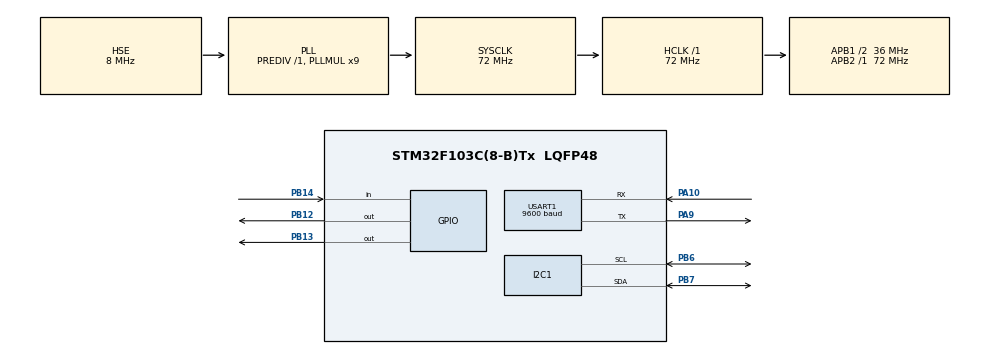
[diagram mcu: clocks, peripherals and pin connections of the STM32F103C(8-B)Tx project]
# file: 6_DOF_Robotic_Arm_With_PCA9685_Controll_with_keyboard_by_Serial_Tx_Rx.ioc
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Mcu.Family=STM32F1
Mcu.Name=STM32F103C(8-B)Tx
Mcu.Package=LQFP48
NVIC.PriorityGroup=NVIC_PRIORITYGROUP_4
NVIC.USART1_IRQn=true\:0\:0\:false\:false\:true\:true\:true\:true
PA10.Mode=Asynchronous
PA10.Signal=USART1_RX
PA9.Mode=Asynchronous
PA9.Signal=USART1_TX
PB12.Signal=GPIO_Output
PB13.Signal=GPIO_Output
PB14.GPIO_PuPd=GPIO_PULLDOWN
PB14.Signal=GPIO_Input
PB6.Mode=I2C
PB6.Signal=I2C1_SCL
PB7.Mode=I2C
PB7.Signal=I2C1_SDA
PD0-OSC_IN.Mode=HSE-External-Oscillator
PD0-OSC_IN.Signal=RCC_OSC_IN
PD1-OSC_OUT.Mode=HSE-External-Oscillator
PD1-OSC_OUT.Signal=RCC_OSC_OUT
ProjectManager.HeapSize=0x200
ProjectManager.StackSize=0x400
ProjectManager.TargetToolchain=STM32CubeIDE
RCC.AHBFreq_Value=72000000
RCC.APB1CLKDivider=RCC_HCLK_DIV2
RCC.APB1Freq_Value=36000000
RCC.APB1TimFreq_Value=72000000
RCC.APB2Freq_Value=72000000
RCC.APB2TimFreq_Value=72000000
RCC.HCLKFreq_Value=72000000
RCC.PLLMUL=RCC_PLL_MUL9
RCC.PLLSourceVirtual=RCC_PLLSOURCE_HSE
RCC.SYSCLKFreq_VALUE=72000000
RCC.SYSCLKSource=RCC_SYSCLKSOURCE_PLLCLK
RCC.USBFreq_Value=72000000
USART1.BaudRate=9600
USART1.VirtualMode=VM_ASYNC
VP_SYS_VS_ND.Mode=No_Debug
board=custom

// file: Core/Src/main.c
/* USER CODE BEGIN Header */
/**
  ******************************************************************************
  * @file           : main.c
  * @brief          : Main program body
  ******************************************************************************
  * @attention
  *
  * Copyright (c) 2023 STMicroelectronics.
  * All rights reserved.
  *
  * This software is licensed under terms that can be found in the LICENSE file
  * in the root directory of this software component.
  * If no LICENSE file comes with this software, it is provided AS-IS.
  *
  ******************************************************************************
  */
/* USER CODE END Header */
#include "main.h"

I2C_HandleTypeDef hi2c1;

UART_HandleTypeDef huart1;

/* USER CODE BEGIN PV */
uint8_t RX1_Char = 0x00;
uint8_t a=0,b=0,c=0,d=0,e=0,f=0,g=0,h=0;
/* USER CODE END PV */

void SystemClock_Config(void);
static void MX_GPIO_Init(void);
static void MX_USART1_UART_Init(void);
static void MX_I2C1_Init(void);

/* USER CODE BEGIN 0 */
void HAL_UART_RxCpltCallback(UART_HandleTypeDef *huart) {
    if (huart->Instance==USART1) {
        HAL_UART_Receive_IT(&huart1, &RX1_Char, 1);
    }
}

#define PCA9685_ADDRESS 0x80
// Datasheet link --> https://cdn-shop.adafruit.com/datasheets/PCA9685.pdf
#define PCA9685_MODE1         0x0         // as in the datasheet page no 10/52
#define PCA9685_PRE_SCALE     0xFE        // as in the datasheet page no 13/52
#define PCA9685_LED0_ON_L     0x6         // as in the datasheet page no 10/52
#define PCA9685_MODE1_SLEEP_BIT      4    // as in the datasheet page no 14/52
#define PCA9685_MODE1_AI_BIT         5    // as in the datasheet page no 14/52
#define PCA9685_MODE1_RESTART_BIT    7    // as in the datasheet page no 14/52

void PCA9685_SetBit(uint8_t Register, uint8_t Bit, uint8_t Value)
{
  uint8_t readValue;
  // Read all 8 bits and set only one bit to 0/1 and write all 8 bits back
  HAL_I2C_Mem_Read(&hi2c1, PCA9685_ADDRESS, Register, 1, &readValue, 1, 10);
  if (Value == 0) readValue &= ~(1 << Bit);
  else readValue |= (1 << Bit);
  HAL_I2C_Mem_Write(&hi2c1, PCA9685_ADDRESS, Register, 1, &readValue, 1, 10);
  HAL_Delay(1);
}

void PCA9685_SetPWMFrequency(uint16_t frequency)
{
  uint8_t prescale;
  if(frequency >= 1526) prescale = 0x03;
  else if(frequency <= 24) prescale = 0xFF;
  //  internal 25 MHz oscillator as in the datasheet page no 1/52
  else prescale = 25000000 / (4096 * frequency);
  // prescale changes 3 to 255 for 1526Hz to 24Hz as in the datasheet page no 1/52
  PCA9685_SetBit(PCA9685_MODE1, PCA9685_MODE1_SLEEP_BIT, 1);
  HAL_I2C_Mem_Write(&hi2c1, PCA9685_ADDRESS, PCA9685_PRE_SCALE, 1, &prescale, 1, 10);
  PCA9685_SetBit(PCA9685_MODE1, PCA9685_MODE1_SLEEP_BIT, 0);
  PCA9685_SetBit(PCA9685_MODE1, PCA9685_MODE1_RESTART_BIT, 1);
}

void PCA9685_Init(uint16_t frequency)
{
  PCA9685_SetPWMFrequency(frequency); // 50 Hz for servo
  PCA9685_SetBit(PCA9685_MODE1, PCA9685_MODE1_AI_BIT, 1);
}

void PCA9685_SetPWM(uint8_t Channel, uint16_t OnTime, uint16_t OffTime)
{
  uint8_t registerAddress;
  uint8_t pwm[4];
  registerAddress = PCA9685_LED0_ON_L + (4 * Channel);
  // See example 1 in the datasheet page no 18/52
  pwm[0] = OnTime & 0xFF;
  pwm[1] = OnTime>>8;
  pwm[2] = OffTime & 0xFF;
  pwm[3] = OffTime>>8;
  HAL_I2C_Mem_Write(&hi2c1, PCA9685_ADDRESS, registerAddress, 1, pwm, 4, 10);
}

void PCA9685_SetServoAngle(uint8_t Channel, float Angle)
{
  float Value;
  // 50 Hz servo then 4095 Value --> 20 milliseconds
  // 0 degree --> 0.5 ms(102.4 Value) and 180 degree --> 2.5 ms(511.9 Value)
  Value = (Angle * (511.9 - 102.4) / 180.0) + 102.4;
  PCA9685_SetPWM(Channel, 0, (uint16_t)Value);
}
/* USER CODE END 0 */

int main(void)
{

  /* MCU Configuration--------------------------------------------------------*/

  /* Reset of all peripherals, Initializes the Flash interface and the Systick. */
  HAL_Init();

  /* Configure the system clock */
  SystemClock_Config();

  /* Initialize all configured peripherals */
  MX_GPIO_Init();
  MX_USART1_UART_Init();
  MX_I2C1_Init();
  /* USER CODE BEGIN 2 */
  HAL_UART_Receive_IT(&huart1, &RX1_Char, 1);
  PCA9685_Init(50); // 50Hz for servo
  /* USER CODE END 2 */

  /* Infinite loop */
  /* USER CODE BEGIN WHILE */
                     PCA9685_SetServoAngle(3, 0);
    	      	     PCA9685_SetServoAngle(4, 0);
    	      	     PCA9685_SetServoAngle(6, 0);

                     PCA9685_SetServoAngle(8, 0);
  	      	    	 PCA9685_SetServoAngle(10, 0);
  	      	    	 PCA9685_SetServoAngle(13, 0);

  while (1)
  {

	      if(RX1_Char == '1')
	      {  a++;

	    	  PCA9685_SetServoAngle(3, a*10);
	      }
	      if(RX1_Char == '2')
	      {

	    	  a--;
	    	  PCA9685_SetServoAngle(3, a*10);
	      }
	      HAL_Delay(10);
	      if(RX1_Char == '4')
	      	      {
	    	         b++;

	      	    	  PCA9685_SetServoAngle(4, b*10);

	      	      }
	      	      if(RX1_Char == '3')
	      	      {

	      	    	  b--;
	      	    	  PCA9685_SetServoAngle(4, b*10);

	      	      }
	      	      HAL_Delay(10);
	      	    if(RX1_Char == '5')
	      	    	      {   c++;

	      	    	    	  PCA9685_SetServoAngle(6, c*10);

	      	    	      }
	      	    if(RX1_Char == '6')
	      	      {

	      	     c--;
	      	      PCA9685_SetServoAngle(6, c*10);

	      	       }
	      	     HAL_Delay(10);

	      	    if(RX1_Char == '8')
	      	       {  d++;

	      	    	PCA9685_SetServoAngle(8, d*10);
	      	    	}
	      	    	 if(RX1_Char == '7')
	      	    	    {
	      	    		 d--;
	      	    	     PCA9685_SetServoAngle(8, d*10);

	      	    	     }
	      	    	     HAL_Delay(10);

	      	    	    if(RX1_Char == '9')
	      	    	    {  e++;

	      	    	     PCA9685_SetServoAngle(10, e*10);

	      	    	     }
	      	          if(RX1_Char == '*')
	      	          {
	      	    	    e--;
	      	    	    PCA9685_SetServoAngle(10, e*10);
	      	    	   }
	      	    	     HAL_Delay(10);

	      	    	   if(RX1_Char == '+')
	      	    	   	    {  f++;

	      	    	   	     PCA9685_SetServoAngle(13, f*3);
	      	    	   	 }
	      	    	   	     if(RX1_Char == '-')
	      	    	   	   {

	      	    	   	      f--;
	      	    	   	     PCA9685_SetServoAngle(13, f*3);
	      	    	   	    }
	      	    	   	     HAL_Delay(10);

    /* USER CODE END WHILE */

  }
}

void SystemClock_Config(void)
{
  RCC_OscInitTypeDef RCC_OscInitStruct = {0};
  RCC_ClkInitTypeDef RCC_ClkInitStruct = {0};

  /** Initializes the RCC Oscillators according to the specified parameters
  * in the RCC_OscInitTypeDef structure.
  */
  RCC_OscInitStruct.OscillatorType = RCC_OSCILLATORTYPE_HSE;
  RCC_OscInitStruct.HSEState = RCC_HSE_ON;
  RCC_OscInitStruct.HSEPredivValue = RCC_HSE_PREDIV_DIV1;
  RCC_OscInitStruct.HSIState = RCC_HSI_ON;
  RCC_OscInitStruct.PLL.PLLState = RCC_PLL_ON;
  RCC_OscInitStruct.PLL.PLLSource = RCC_PLLSOURCE_HSE;
  RCC_OscInitStruct.PLL.PLLMUL = RCC_PLL_MUL9;
  if (HAL_RCC_OscConfig(&RCC_OscInitStruct) != HAL_OK)
  {
    Error_Handler();
  }

  /** Initializes the CPU, AHB and APB buses clocks
  */
  RCC_ClkInitStruct.ClockType = RCC_CLOCKTYPE_HCLK|RCC_CLOCKTYPE_SYSCLK
                              |RCC_CLOCKTYPE_PCLK1|RCC_CLOCKTYPE_PCLK2;
  RCC_ClkInitStruct.SYSCLKSource = RCC_SYSCLKSOURCE_PLLCLK;
  RCC_ClkInitStruct.AHBCLKDivider = RCC_SYSCLK_DIV1;
  RCC_ClkInitStruct.APB1CLKDivider = RCC_HCLK_DIV2;
  RCC_ClkInitStruct.APB2CLKDivider = RCC_HCLK_DIV1;

  if (HAL_RCC_ClockConfig(&RCC_ClkInitStruct, FLASH_LATENCY_2) != HAL_OK)
  {
    Error_Handler();
  }
}

static void MX_I2C1_Init(void)
{

  hi2c1.Instance = I2C1;
  hi2c1.Init.ClockSpeed = 100000;
  hi2c1.Init.DutyCycle = I2C_DUTYCYCLE_2;
  hi2c1.Init.OwnAddress1 = 0;
  hi2c1.Init.AddressingMode = I2C_ADDRESSINGMODE_7BIT;
  hi2c1.Init.DualAddressMode = I2C_DUALADDRESS_DISABLE;
  hi2c1.Init.OwnAddress2 = 0;
  hi2c1.Init.GeneralCallMode = I2C_GENERALCALL_DISABLE;
  hi2c1.Init.NoStretchMode = I2C_NOSTRETCH_DISABLE;
  if (HAL_I2C_Init(&hi2c1) != HAL_OK)
  {
    Error_Handler();
  }

}

static void MX_USART1_UART_Init(void)
{

  huart1.Instance = USART1;
  huart1.Init.BaudRate = 9600;
  huart1.Init.WordLength = UART_WORDLENGTH_8B;
  huart1.Init.StopBits = UART_STOPBITS_1;
  huart1.Init.Parity = UART_PARITY_NONE;
  huart1.Init.Mode = UART_MODE_TX_RX;
  huart1.Init.HwFlowCtl = UART_HWCONTROL_NONE;
  huart1.Init.OverSampling = UART_OVERSAMPLING_16;
  if (HAL_UART_Init(&huart1) != HAL_OK)
  {
    Error_Handler();
  }

}

static void MX_GPIO_Init(void)
{
  GPIO_InitTypeDef GPIO_InitStruct = {0};

  /* GPIO Ports Clock Enable */
  __HAL_RCC_GPIOD_CLK_ENABLE();
  __HAL_RCC_GPIOB_CLK_ENABLE();
  __HAL_RCC_GPIOA_CLK_ENABLE();

  /*Configure GPIO pin Output Level */
  HAL_GPIO_WritePin(GPIOB, GPIO_PIN_12|GPIO_PIN_13, GPIO_PIN_RESET);

  /*Configure GPIO pins : PB12 PB13 */
  GPIO_InitStruct.Pin = GPIO_PIN_12|GPIO_PIN_13;
  GPIO_InitStruct.Mode = GPIO_MODE_OUTPUT_PP;
  GPIO_InitStruct.Pull = GPIO_NOPULL;
  GPIO_InitStruct.Speed = GPIO_SPEED_FREQ_LOW;
  HAL_GPIO_Init(GPIOB, &GPIO_InitStruct);

  /*Configure GPIO pin : PB14 */
  GPIO_InitStruct.Pin = GPIO_PIN_14;
  GPIO_InitStruct.Mode = GPIO_MODE_INPUT;
  GPIO_InitStruct.Pull = GPIO_PULLDOWN;
  HAL_GPIO_Init(GPIOB, &GPIO_InitStruct);

}

void Error_Handler(void)
{
  __disable_irq();
  while (1)
  {
  }
}
